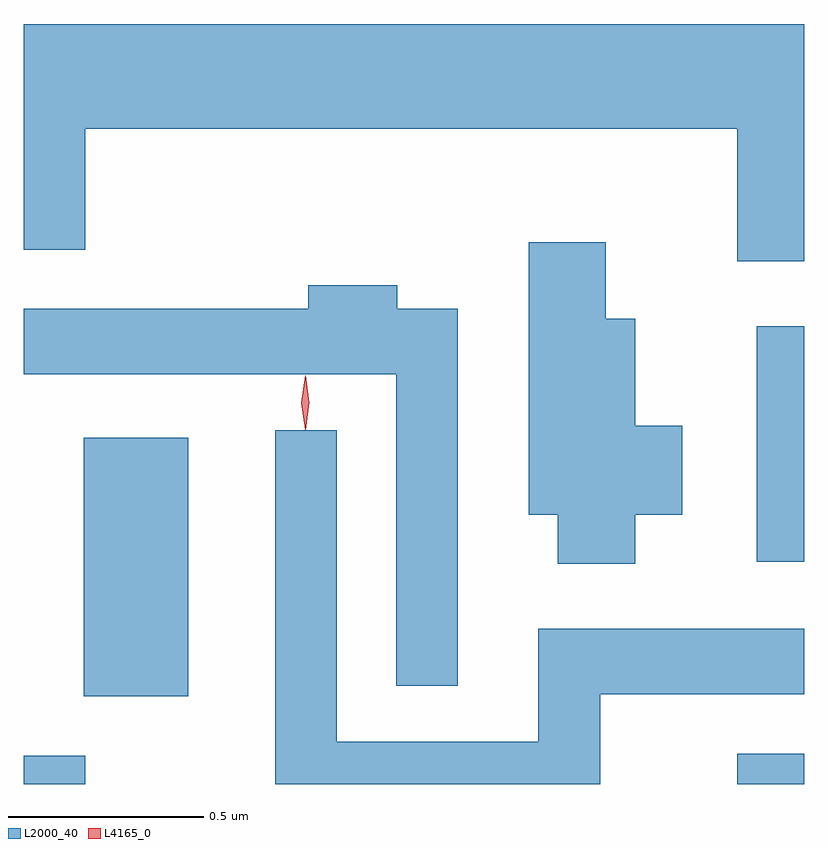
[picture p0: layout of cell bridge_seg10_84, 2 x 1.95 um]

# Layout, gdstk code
import gdstk
lib = gdstk.Library(unit=1e-6, precision=1e-09)
def R(c, l, rs):  # rectangles x0, y0, x1, y1
    for r in rs: c.add(gdstk.rectangle(r[:2], r[2:], *l))
def P(c, l, *ps):  # polygons
    for p in ps: c.add(gdstk.Polygon(p, *l))
L2000_40 = (2000, 40)
L4165_0 = (4165, 0)

bridge_seg10_84 = lib.new_cell('bridge_seg10_84')
R(bridge_seg10_84, L2000_40, [(1587.442,2198.816,1587.599,2198.889), (1589.271,2198.816,1589.442,2198.894), (1587.596,2199.041,1587.864,2199.704), (1589.321,2199.386,1589.442,2199.989)])
P(bridge_seg10_84, L2000_40, [(1589.442,2200.764),(1587.442,2200.764),(1587.442,2200.186),(1587.599,2200.186),(1587.599,2200.496),(1589.271,2200.496),(1589.271,2200.156),(1589.442,2200.156)],
  [(1589.009,2199.506),(1589.129,2199.506),(1589.129,2199.734),(1589.009,2199.734),(1589.009,2200.009),(1588.934,2200.009),(1588.934,2200.204),(1588.736,2200.204),(1588.736,2199.506),(1588.811,2199.506),(1588.811,2199.381),(1589.009,2199.381)],
  [(1588.554,2200.034),(1588.399,2200.034),(1588.399,2200.094),(1588.171,2200.094),(1588.171,2200.034),(1587.442,2200.034),(1587.442,2199.866),(1588.396,2199.866),(1588.396,2199.068),(1588.554,2199.068)],
  [(1588.919,2199.046),(1589.442,2199.046),(1589.442,2199.214),(1588.761,2199.214),(1588.761,2198.924),(1588.244,2198.924),(1588.244,2199.723),(1588.086,2199.723),(1588.086,2198.816),(1588.919,2198.816)])
P(bridge_seg10_84, L4165_0, [(1588.163,2199.724),(1588.163,2199.724),(1588.153,2199.793),(1588.163,2199.862),(1588.163,2199.863),(1588.164,2199.862),(1588.173,2199.793),(1588.164,2199.724)])

lib.write_gds('bridge_seg10_84.gds')
